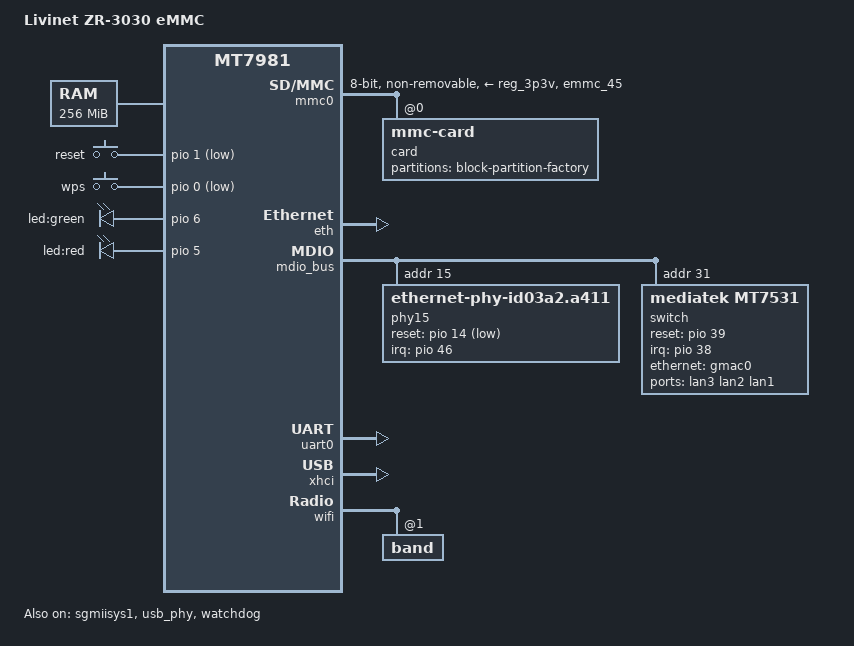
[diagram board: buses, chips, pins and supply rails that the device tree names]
// SPDX-License-Identifier: GPL-2.0-or-later OR MIT
/*
 * Copyright (C) 2023 Tianling Shen <cnsztl@immortalwrt.org>
 */

/dts-v1/;
#include <dt-bindings/gpio/gpio.h>
#include <dt-bindings/input/input.h>
#include "mt7981.dtsi"

/ {
	model = "Livinet ZR-3030 eMMC";
	compatible = "livinet,zr-3030", "mediatek,mt7981";

	aliases {
		led-boot = &boot_led;
		led-failsafe = &boot_led;
		led-running = &running_led;
		led-upgrade = &boot_led;
		serial0 = &uart0;
	};

	chosen: chosen {
		bootargs = "root=PARTLABEL=rootfs rootwait rootfstype=squashfs,f2fs";
		stdout-path = "serial0:115200n8";
	};

	memory@40000000 {
		reg = <0 0x40000000 0 0x10000000>;
	};

	gpio-keys {
		compatible = "gpio-keys";

		button-reset {
			label = "reset";
			linux,code = <KEY_RESTART>;
			gpios = <&pio 1 GPIO_ACTIVE_LOW>;
		};

		button-wps {
			label = "wps";
			linux,code = <KEY_WPS_BUTTON>;
			gpios = <&pio 0 GPIO_ACTIVE_LOW>;
		};
	};

	gpio-leds {
		compatible = "gpio-leds";

		running_led: led-2 {
			label = "led:green";
			gpios = <&pio 6 GPIO_ACTIVE_HIGH>;
		};

		boot_led: led-3 {
			label = "led:red";
			gpios = <&pio 5 GPIO_ACTIVE_HIGH>;
		};
	};
};

&mmc0 {
	bus-width = <8>;
	cap-mmc-highspeed;
	max-frequency = <52000000>;
	non-removable;
	pinctrl-names = "default", "state_uhs";
	pinctrl-0 = <&mmc0_pins_default>;
	pinctrl-1 = <&mmc0_pins_uhs>;
	vmmc-supply = <&reg_3p3v>;
	status = "okay";

	card@0 {
		compatible = "mmc-card";
		reg = <0>;

		block {
			compatible = "block-device";

			partitions {
				block-partition-factory {
					partname = "factory";

					nvmem-layout {
						compatible = "fixed-layout";
						#address-cells = <1>;
						#size-cells = <1>;

						eeprom_factory_0: eeprom@0 {
							reg = <0x0 0x1000>;
						};

						macaddr_factory_24: macaddr@24 {
							compatible = "mac-base";
							reg = <0x24 0x6>;
							#nvmem-cell-cells = <1>;
						};

					};
				};
			};
		};
	};
};

&eth {
	status = "okay";
	
	gmac0: mac@0 {
		compatible = "mediatek,eth-mac";
		reg = <0>;
		phy-mode = "2500base-x";
		fixed-link {
			speed = <2500>;
			full-duplex;
			pause;
		};
	};
	
	gmac1: mac@1 {
		compatible = "mediatek,eth-mac";
		reg = <1>;
		mediatek,gmac-id = <1>;
		mediatek,sgmiisys = <&sgmiisys1>;
		phy-mode = "2500base-x";
		phy-handle = <&phy15>;

		fixed-link {
			speed = <2500>;
			full-duplex;
		};
	};
};

&sgmiisys1 {
	status = "okay";
};

&mdio_bus {
	// EN8811H PHY配置
	phy15: ethernet-phy@15 {
		compatible = "ethernet-phy-id03a2.a411";
		reg = <15>;
		phy-id = <0x03a2 0xa411>;

		airoha,en8811h;
		airoha,polarity = <1>;

		interrupt-parent = <&pio>;
		interrupts = <46 IRQ_TYPE_LEVEL_HIGH>;
		reset-gpios = <&pio 14 GPIO_ACTIVE_LOW>;
		reset-assert-us = <10000>;
		reset-deassert-us = <10000>;
		reset-delay-us = <30000>;

		phy-mode = "2500base-x";
		max-speed = <2500>;

		airoha,led-config = <0x0>;
		airoha,tx-idle = <1>;
		airoha,rx-idle = <1>;
	};
	
	// 交换机配置
	switch: switch@1f {
		compatible = "mediatek,mt7531";
		reg = <31>;
		reset-gpios = <&pio 39 GPIO_ACTIVE_HIGH>;
		interrupt-controller;
		#interrupt-cells = <1>;
		interrupt-parent = <&pio>;
		interrupts = <38 IRQ_TYPE_LEVEL_HIGH>;
	};
};

&switch {
	ports {
		#address-cells = <1>;
		#size-cells = <0>;

		port@1 {
			reg = <1>;
			label = "lan3";
		};

		port@2 {
			reg = <2>;
			label = "lan2";
		};

		port@3 {
			reg = <3>;
			label = "lan1";
		};

		port@6 {
			reg = <6>;
			ethernet = <&gmac0>;
			phy-mode = "2500base-x";

			fixed-link {
				speed = <2500>;
				full-duplex;
				pause;
			};
		};
	};
};

&pio {
	mmc0_pins_default: mmc0-pins-default {
		mux {
			function = "flash";
			groups = "emmc_45";
		};
	};

	mmc0_pins_uhs: mmc0-pins-uhs {
		mux {
			function = "flash";
			groups = "emmc_45";
		};
	};
};

&uart0 {
	status = "okay";
};

&usb_phy {
	status = "okay";
};

&watchdog {
	status = "okay";
};

&xhci {
	status = "okay";
};

&wifi {
	nvmem-cells = <&eeprom_factory_0>;
	nvmem-cell-names = "eeprom";
	status = "okay";

	band@1 {
		reg = <1>;
		nvmem-cells = <&macaddr_factory_24 2>;
		nvmem-cell-names = "mac-address";
	};
};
